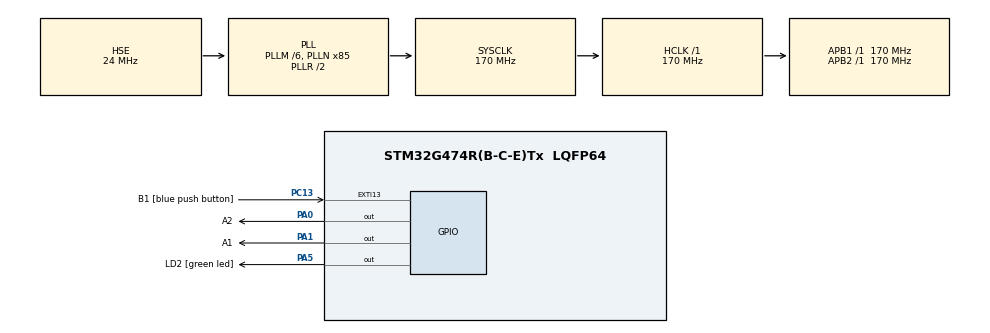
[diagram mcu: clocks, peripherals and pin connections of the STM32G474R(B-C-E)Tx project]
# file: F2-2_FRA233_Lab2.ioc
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Mcu.Family=STM32G4
Mcu.Name=STM32G474R(B-C-E)Tx
Mcu.Package=LQFP64
NVIC.EXTI15_10_IRQn=true\:0\:0\:false\:false\:true\:true\:true\:true
NVIC.PriorityGroup=NVIC_PRIORITYGROUP_4
NVIC.TIM3_IRQn=true\:0\:0\:false\:false\:true\:true\:true\:true
NVIC.TIM6_DAC_IRQn=true\:0\:0\:false\:false\:true\:true\:true\:true
PA0.GPIO_Label=A2
PA0.Signal=GPIO_Output
PA1.GPIO_Label=A1
PA1.Signal=GPIO_Output
PA13.GPIO_Label=T_SWDIO
PA13.Mode=Trace_Asynchronous_SW
PA13.Signal=SYS_JTMS-SWDIO
PA14.GPIO_Label=T_SWCLK
PA14.Mode=Trace_Asynchronous_SW
PA14.Signal=SYS_JTCK-SWCLK
PA2.GPIO_Label=LPUART1_TX [STLINKV3E_VCP_RX]
PA2.Signal=LPUART1_TX
PA3.GPIO_Label=LPUART1_RX [STLINKV3E_VCP_TX]
PA3.Signal=LPUART1_RX
PA5.GPIO_Label=LD2 [green led]
PA5.Signal=GPIO_Output
PB3.GPIO_Label=T_SWO
PB3.Mode=Trace_Asynchronous_SW
PB3.Signal=SYS_JTDO-SWO
PC13.GPIO_Label=B1 [blue push button]
PC13.Signal=GPXTI13
PC14-OSC32_IN.GPIO_Label=RCC_OSC32_IN
PC14-OSC32_IN.Signal=RCC_OSC32_IN
PC15-OSC32_OUT.GPIO_Label=RCC_OSC32_OUT
PC15-OSC32_OUT.Signal=RCC_OSC32_OUT
PF0-OSC_IN.GPIO_Label=RCC_OSC_IN
PF0-OSC_IN.Mode=HSE-External-Oscillator
PF0-OSC_IN.Signal=RCC_OSC_IN
PF1-OSC_OUT.GPIO_Label=RCC_OSC_OUT
PF1-OSC_OUT.Mode=HSE-External-Oscillator
PF1-OSC_OUT.Signal=RCC_OSC_OUT
ProjectManager.HeapSize=0x200
ProjectManager.StackSize=0x400
ProjectManager.TargetToolchain=STM32CubeIDE
RCC.ADC12Freq_Value=170000000
RCC.ADC345Freq_Value=170000000
RCC.AHBFreq_Value=170000000
RCC.APB1Freq_Value=170000000
RCC.APB1TimFreq_Value=170000000
RCC.APB2Freq_Value=170000000
RCC.APB2TimFreq_Value=170000000
RCC.CortexFreq_Value=170000000
RCC.EXTERNAL_CLOCK_VALUE=12288000
RCC.HCLKFreq_Value=170000000
RCC.HSE_VALUE=24000000
RCC.HSI48_VALUE=48000000
RCC.HSI_VALUE=16000000
RCC.LSE_VALUE=32768
RCC.PLLM=RCC_PLLM_DIV6
RCC.PLLN=85
RCC.PLLSourceVirtual=RCC_PLLSOURCE_HSE
RCC.RTCClockSelection=RCC_RTCCLKSOURCE_LSE
RCC.SYSCLKFreq_VALUE=170000000
RCC.SYSCLKSource=RCC_SYSCLKSOURCE_PLLCLK
RCC.USBFreq_Value=170000000
RCC.VCOOutputFreq_Value=340000000
TIM3.PeriodNoDither=99
TIM3.Prescaler=16999
TIM6.PeriodNoDither=200
TIM6.Prescaler=169
VP_SYS_VS_DBSignals.Mode=DisableDeadBatterySignals
VP_TIM3_VS_ClockSourceINT.Mode=Internal
VP_TIM6_VS_ClockSourceINT.Mode=Enable_Timer
board=NUCLEO-G474RE

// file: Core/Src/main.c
/* USER CODE BEGIN Header */
/**
 ******************************************************************************
 * @file           : main.c
 * @brief          : Main program body
 ******************************************************************************
 * @attention
 *
 * Copyright (c) 2026 STMicroelectronics.
 * All rights reserved.
 *
 * This software is licensed under terms that can be found in the LICENSE file
 * in the root directory of this software component.
 * If no LICENSE file comes with this software, it is provided AS-IS.
 *
 ******************************************************************************
 */
/* USER CODE END Header */
#include "main.h"

/* USER CODE BEGIN Includes */
#include <math.h>
/* USER CODE END Includes */

TIM_HandleTypeDef htim3;
TIM_HandleTypeDef htim6;

/* USER CODE BEGIN PV */
int Start_State = 0;
int Last_State = 0;

float W_n = 0.0, W_n1 = 0.0, W_n2 = 0.0; // Current and Past of W
float V_n = 0.0, V_n1 = 0.0, V_n2 = 0.0; // Current and Past of V
float c_Wn = 0.0, c_W1 = 0.0, c_W2 = 0.0, c_Vn = 0.0, c_V1 = 0.0, c_V2 = 0.0; // Coefficient

// G8 Parameter
float R = 3.57f;
float L = 0.003313f;
float Bm = 0.00000214f;
float Jm = 0.000011739f;
float km = 0.049575f;
float ke = 0.050668f;
float Ts = 0.01f;
float t = 0.0f;

float a = 0 ;
float b = 0 ;
float c = 0 ;
float d = 0 ;
/* USER CODE END PV */

void SystemClock_Config(void);
static void MX_GPIO_Init(void);
static void MX_TIM3_Init(void);
static void MX_TIM6_Init(void);
/* USER CODE BEGIN PFP */
void Init_Discrete_Model_ForwardDiscrete();
void Init_Discrete_Model_BackwardDiscrete();
void Init_Discrete_Model_TrapezoidalDiscrete();
void Init_Discrete_Model();
void Generate_Signal(int _input);
/* USER CODE END PFP */

int main(void)
{

  /* MCU Configuration--------------------------------------------------------*/

  /* Reset of all peripherals, Initializes the Flash interface and the Systick. */
  HAL_Init();

  /* Configure the system clock */
  SystemClock_Config();

  /* Initialize all configured peripherals */
  MX_GPIO_Init();
  MX_TIM3_Init();
  MX_TIM6_Init();
  /* USER CODE BEGIN 2 */
	Init_Discrete_Model();
	Init_Discrete_Model_ForwardDiscrete();
	HAL_TIM_Base_Start_IT(&htim3);
  /* USER CODE END 2 */

  /* Infinite loop */
	while (1) {

    /* USER CODE BEGIN 3 */
		if (Start_State == 1 && Last_State == 0) {
			t = 0.0f;
			__HAL_TIM_SET_COUNTER(&htim3, 0);
			HAL_TIM_Base_Start_IT(&htim3);
			Last_State = 1;
		}

		else if (Start_State == 0 && Last_State == 1) {
			HAL_TIM_Base_Stop_IT(&htim3);
			t = 0.0f;
			V_n = 0.0f;
			W_n = 0.0f;
			Last_State = 0;
		}
	}
  /* USER CODE END 3 */
}

void SystemClock_Config(void)
{
  RCC_OscInitTypeDef RCC_OscInitStruct = {0};
  RCC_ClkInitTypeDef RCC_ClkInitStruct = {0};

  /** Configure the main internal regulator output voltage
  */
  HAL_PWREx_ControlVoltageScaling(PWR_REGULATOR_VOLTAGE_SCALE1_BOOST);

  /** Initializes the RCC Oscillators according to the specified parameters
  * in the RCC_OscInitTypeDef structure.
  */
  RCC_OscInitStruct.OscillatorType = RCC_OSCILLATORTYPE_HSE;
  RCC_OscInitStruct.HSEState = RCC_HSE_ON;
  RCC_OscInitStruct.PLL.PLLState = RCC_PLL_ON;
  RCC_OscInitStruct.PLL.PLLSource = RCC_PLLSOURCE_HSE;
  RCC_OscInitStruct.PLL.PLLM = RCC_PLLM_DIV6;
  RCC_OscInitStruct.PLL.PLLN = 85;
  RCC_OscInitStruct.PLL.PLLP = RCC_PLLP_DIV2;
  RCC_OscInitStruct.PLL.PLLQ = RCC_PLLQ_DIV2;
  RCC_OscInitStruct.PLL.PLLR = RCC_PLLR_DIV2;
  if (HAL_RCC_OscConfig(&RCC_OscInitStruct) != HAL_OK)
  {
    Error_Handler();
  }

  /** Initializes the CPU, AHB and APB buses clocks
  */
  RCC_ClkInitStruct.ClockType = RCC_CLOCKTYPE_HCLK|RCC_CLOCKTYPE_SYSCLK
                              |RCC_CLOCKTYPE_PCLK1|RCC_CLOCKTYPE_PCLK2;
  RCC_ClkInitStruct.SYSCLKSource = RCC_SYSCLKSOURCE_PLLCLK;
  RCC_ClkInitStruct.AHBCLKDivider = RCC_SYSCLK_DIV1;
  RCC_ClkInitStruct.APB1CLKDivider = RCC_HCLK_DIV1;
  RCC_ClkInitStruct.APB2CLKDivider = RCC_HCLK_DIV1;

  if (HAL_RCC_ClockConfig(&RCC_ClkInitStruct, FLASH_LATENCY_4) != HAL_OK)
  {
    Error_Handler();
  }
}

static void MX_TIM3_Init(void)
{

  TIM_ClockConfigTypeDef sClockSourceConfig = {0};
  TIM_MasterConfigTypeDef sMasterConfig = {0};

  htim3.Instance = TIM3;
  htim3.Init.Prescaler = 16999;
  htim3.Init.CounterMode = TIM_COUNTERMODE_UP;
  htim3.Init.Period = 99;
  htim3.Init.ClockDivision = TIM_CLOCKDIVISION_DIV1;
  htim3.Init.AutoReloadPreload = TIM_AUTORELOAD_PRELOAD_DISABLE;
  if (HAL_TIM_Base_Init(&htim3) != HAL_OK)
  {
    Error_Handler();
  }
  sClockSourceConfig.ClockSource = TIM_CLOCKSOURCE_INTERNAL;
  if (HAL_TIM_ConfigClockSource(&htim3, &sClockSourceConfig) != HAL_OK)
  {
    Error_Handler();
  }
  sMasterConfig.MasterOutputTrigger = TIM_TRGO_RESET;
  sMasterConfig.MasterSlaveMode = TIM_MASTERSLAVEMODE_DISABLE;
  if (HAL_TIMEx_MasterConfigSynchronization(&htim3, &sMasterConfig) != HAL_OK)
  {
    Error_Handler();
  }

}

static void MX_TIM6_Init(void)
{

  TIM_MasterConfigTypeDef sMasterConfig = {0};

  htim6.Instance = TIM6;
  htim6.Init.Prescaler = 169;
  htim6.Init.CounterMode = TIM_COUNTERMODE_UP;
  htim6.Init.Period = 200;
  htim6.Init.AutoReloadPreload = TIM_AUTORELOAD_PRELOAD_DISABLE;
  if (HAL_TIM_Base_Init(&htim6) != HAL_OK)
  {
    Error_Handler();
  }
  sMasterConfig.MasterOutputTrigger = TIM_TRGO_RESET;
  sMasterConfig.MasterSlaveMode = TIM_MASTERSLAVEMODE_DISABLE;
  if (HAL_TIMEx_MasterConfigSynchronization(&htim6, &sMasterConfig) != HAL_OK)
  {
    Error_Handler();
  }

}

static void MX_GPIO_Init(void)
{
  GPIO_InitTypeDef GPIO_InitStruct = {0};

  /* GPIO Ports Clock Enable */
  __HAL_RCC_GPIOC_CLK_ENABLE();
  __HAL_RCC_GPIOF_CLK_ENABLE();
  __HAL_RCC_GPIOA_CLK_ENABLE();
  __HAL_RCC_GPIOB_CLK_ENABLE();

  /*Configure GPIO pin Output Level */
  HAL_GPIO_WritePin(GPIOA, A2_Pin|A1_Pin|LD2_Pin, GPIO_PIN_RESET);

  /*Configure GPIO pin : B1_Pin */
  GPIO_InitStruct.Pin = B1_Pin;
  GPIO_InitStruct.Mode = GPIO_MODE_IT_RISING;
  GPIO_InitStruct.Pull = GPIO_NOPULL;
  HAL_GPIO_Init(B1_GPIO_Port, &GPIO_InitStruct);

  /*Configure GPIO pins : A2_Pin A1_Pin LD2_Pin */
  GPIO_InitStruct.Pin = A2_Pin|A1_Pin|LD2_Pin;
  GPIO_InitStruct.Mode = GPIO_MODE_OUTPUT_PP;
  GPIO_InitStruct.Pull = GPIO_NOPULL;
  GPIO_InitStruct.Speed = GPIO_SPEED_FREQ_LOW;
  HAL_GPIO_Init(GPIOA, &GPIO_InitStruct);

  /*Configure GPIO pins : LPUART1_TX_Pin LPUART1_RX_Pin */
  GPIO_InitStruct.Pin = LPUART1_TX_Pin|LPUART1_RX_Pin;
  GPIO_InitStruct.Mode = GPIO_MODE_AF_PP;
  GPIO_InitStruct.Pull = GPIO_NOPULL;
  GPIO_InitStruct.Speed = GPIO_SPEED_FREQ_LOW;
  GPIO_InitStruct.Alternate = GPIO_AF12_LPUART1;
  HAL_GPIO_Init(GPIOA, &GPIO_InitStruct);

  /* EXTI interrupt init*/
  HAL_NVIC_SetPriority(EXTI15_10_IRQn, 0, 0);
  HAL_NVIC_EnableIRQ(EXTI15_10_IRQn);

}

/* USER CODE BEGIN 4 */
void Generate_Signal(int _input) {
	float delay_time = 0;
	float freq_sine = 1.0f;
	float amp_sine = 12.0f;

	if (_input == 1) {

		V_n = amp_sine * sinf(2.0f * 3.1415926f * freq_sine * t);
	} else if (_input == 2) {
		float slope = 1.0f;

		if (Ts == 1.0f) {
			delay_time = 0.0f;
			if (t >= delay_time) {
				V_n = slope * (t - 0.0f);
			} else {
				V_n = 0;
			}
		}
		if (Ts == 0.1f) {
			delay_time = 1.0f;
			if (t >= delay_time) {
				V_n = slope * (t - 0.9f);
			} else {
				V_n = 0;
			}
		}
		if (Ts == 0.01f) {
			delay_time = 1.0f;
			if (t >= delay_time) {
				V_n = slope * (t - 0.99f);
			} else {
				V_n = 0;
			}
		}
		if (Ts == 0.001f) {
			delay_time = 1.0f;
			if (t >= delay_time) {
				V_n = slope * (t - 0.999f);
			} else {
				V_n = 0;
			}
		}

	} else if (_input == 3) {
		delay_time = 10.0f;
		if (t >= delay_time) {
			V_n = 12;
		} else {
			V_n = 0;
		}
	}

	if (V_n > 12.0f) {
		V_n = 12.0f;
	} else if (V_n < -12.0f) {
		V_n = -12.0f;
	}
}

void HAL_TIM_PeriodElapsedCallback(TIM_HandleTypeDef *htim) {
	if (htim == &htim3) {
		if (Start_State == 1) {
			t += Ts;

			Generate_Signal(1);
			float Cal_Wn = (c_W1 * W_n1) + (c_W2 * W_n2) + (c_Vn * V_n)
					+ (c_V1 * V_n1) + (c_V2 * V_n2);

			W_n2 = W_n1;
			W_n1 = W_n;
			V_n2 = V_n1;
			V_n1 = V_n;
		} else {
			t = 0.0f;
			V_n = 0.0f;
			W_n = 0.0f;
		}

	}
}

void Init_Discrete_Model() {
	a = Jm * L;
	b = (Bm * L) + (R * Jm);
	c = (R * Bm) + (km * ke);
	d = km;
}

void Init_Discrete_Model_ForwardDiscrete() {
	c_Wn = 0.0f;
	c_Vn = 0.0f;
	c_V1 = 0.0f;

	float den = a;
	c_W1 = ((2.0f * a) - (b * Ts)) / den;
	c_W2 = (-a + (b * Ts) - (c * Ts * Ts)) / den;
	c_V2 = (d * Ts * Ts) / den;
}

void Init_Discrete_Model_BackwardDiscrete() {
	c_Wn = 0.0f;
	c_V1 = 0.0f;
	c_V2 = 0.0f;

	float den = a + (b * Ts) + (c * Ts * Ts);
	c_W1 = ((2.0f * a) + (b * Ts)) / den;
	c_W2 = -a / den;
	c_Vn = (d * Ts * Ts) / den;
}

void Init_Discrete_Model_TrapezoidalDiscrete() {
	c_Wn = 0.0f;

	float k = 2.0f / Ts;

	float den = (a * k * k) + (b * k) + c;
	c_W1 = ((2.0f * a * k * k) - (2.0f * c)) / den;
	c_W2 = -((a * k * k) - (b * k) + c) / den;
	c_Vn = d / den;
	c_V1 = (2.0f * d) / den;
	c_V2 = d / den;
}

//void Init_Discrete_Model_ForwardDiscrete() {
//	c_Wn = 0.0f;
//	c_Vn = 0.0f;
//	c_V1 = 0.0f;
//
//	float den = Jm * L;
//	c_W1 = ((2 * Jm * L) - (Bm * L * Ts) - (Jm * R * Ts)) / den;
//	c_W2 = ((-Jm * L) + (Bm * L * Ts) + (Jm * R * Ts) - (Ts * Ts * R * Bm)
//			- (Ts * Ts * km * ke)) / den;
//	c_V2 = (km * Ts * Ts) / den;
//}

//void Init_Discrete_Model_BackwardDiscrete() {
//	c_Wn = 0.0f;
//	c_V1 = 0.0f;
//	c_V2 = 0.0f;
//
//	float den = (Jm * L) + (Bm * L * Ts) + (R * Jm * Ts) + (Ts * Ts * R * Bm)
//			+ (km * ke * Ts * Ts);
//	c_W1 = ((2.0f * Jm * L) + (Bm * L * Ts) + (R * Jm * Ts)) / den;
//	c_W2 = ((-1.0f * Jm * L)) / den;
//	c_Vn = ((km * Ts * Ts)) / den;
//}

/* USER CODE END 4 */

void Error_Handler(void)
{
	__disable_irq();
	while (1) {
	}
}
